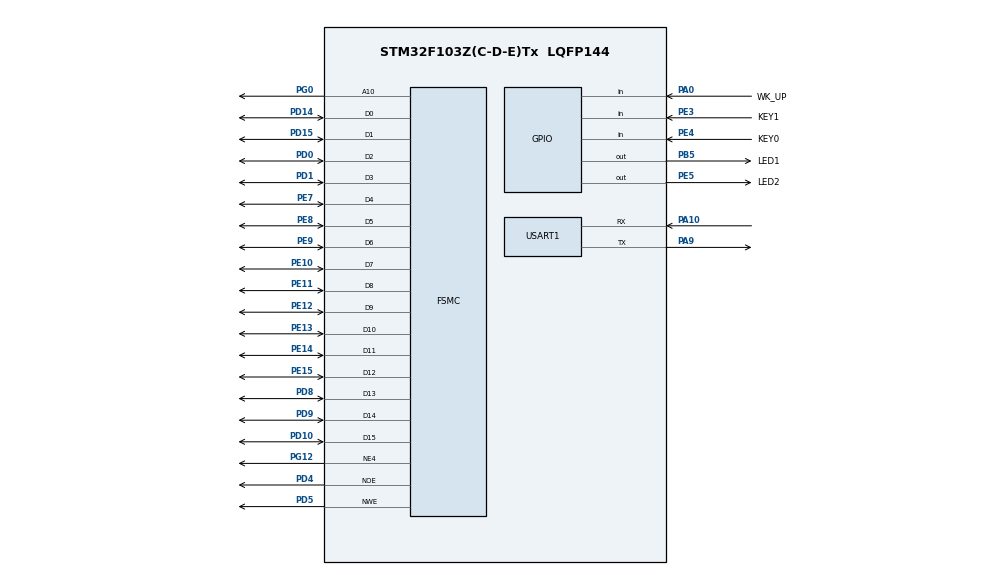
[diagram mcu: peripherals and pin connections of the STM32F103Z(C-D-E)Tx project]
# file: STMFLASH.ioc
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FSMC.AddressSetupTime4=6
FSMC.BusTurnAroundDuration4=0
FSMC.DataSetupTime4=26
FSMC.ExtendedAddressSetupTime4=3
FSMC.ExtendedBusTurnAroundDuration4=0
FSMC.ExtendedDataSetupTime4=6
FSMC.ExtendedMode4=FSMC_EXTENDED_MODE_ENABLE
Mcu.Family=STM32F1
Mcu.Name=STM32F103Z(C-D-E)Tx
Mcu.Package=LQFP144
NVIC.PriorityGroup=NVIC_PRIORITYGROUP_4
NVIC.USART1_IRQn=true\:0\:0\:false\:false\:true\:true\:true\:true
OSC_IN.Mode=HSE-External-Oscillator
OSC_IN.Signal=RCC_OSC_IN
OSC_OUT.Mode=HSE-External-Oscillator
OSC_OUT.Signal=RCC_OSC_OUT
PA0-WKUP.GPIO_Label=WK_UP
PA0-WKUP.GPIO_PuPd=GPIO_PULLDOWN
PA0-WKUP.Signal=GPIO_Input
PA10.Mode=Asynchronous
PA10.Signal=USART1_RX
PA9.Mode=Asynchronous
PA9.Signal=USART1_TX
PB5.GPIO_Label=LED1
PB5.GPIO_Speed=GPIO_SPEED_FREQ_HIGH
PB5.Signal=GPIO_Output
PC14-OSC32_IN.Mode=LSE-External-Oscillator
PC14-OSC32_IN.Signal=RCC_OSC32_IN
PC15-OSC32_OUT.Mode=LSE-External-Oscillator
PC15-OSC32_OUT.Signal=RCC_OSC32_OUT
PD0.Signal=FSMC_D2_DA2
PD1.Signal=FSMC_D3_DA3
PD10.Signal=FSMC_D15_DA15
PD14.Signal=FSMC_D0_DA0
PD15.Signal=FSMC_D1_DA1
PD4.Signal=FSMC_NOE
PD5.Signal=FSMC_NWE
PD8.Signal=FSMC_D13_DA13
PD9.Signal=FSMC_D14_DA14
PE10.Signal=FSMC_D7_DA7
PE11.Signal=FSMC_D8_DA8
PE12.Signal=FSMC_D9_DA9
PE13.Signal=FSMC_D10_DA10
PE14.Signal=FSMC_D11_DA11
PE15.Signal=FSMC_D12_DA12
PE3.GPIO_Label=KEY1
PE3.GPIO_PuPd=GPIO_PULLUP
PE3.Signal=GPIO_Input
PE4.GPIO_Label=KEY0
PE4.GPIO_PuPd=GPIO_PULLUP
PE4.Signal=GPIO_Input
PE5.GPIO_Label=LED2
PE5.GPIO_Speed=GPIO_SPEED_FREQ_HIGH
PE5.Signal=GPIO_Output
PE7.Signal=FSMC_D4_DA4
PE8.Signal=FSMC_D5_DA5
PE9.Signal=FSMC_D6_DA6
PG0.Signal=FSMC_A10
PG12.Mode=NorPsramChipSelect4_4
PG12.Signal=FSMC_NE4
ProjectManager.HeapSize=0x200
ProjectManager.StackSize=0x400
ProjectManager.TargetToolchain=STM32CubeIDE
RCC.APB1Freq_Value=8000000
RCC.APB2Freq_Value=8000000
SH.FSMC_A10.0=FSMC_A10,A10_4
SH.FSMC_D0_DA0.0=FSMC_D0,16b-d4
SH.FSMC_D10_DA10.0=FSMC_D10,16b-d4
SH.FSMC_D11_DA11.0=FSMC_D11,16b-d4
SH.FSMC_D12_DA12.0=FSMC_D12,16b-d4
SH.FSMC_D13_DA13.0=FSMC_D13,16b-d4
SH.FSMC_D14_DA14.0=FSMC_D14,16b-d4
SH.FSMC_D15_DA15.0=FSMC_D15,16b-d4
SH.FSMC_D1_DA1.0=FSMC_D1,16b-d4
SH.FSMC_D2_DA2.0=FSMC_D2,16b-d4
SH.FSMC_D3_DA3.0=FSMC_D3,16b-d4
SH.FSMC_D4_DA4.0=FSMC_D4,16b-d4
SH.FSMC_D5_DA5.0=FSMC_D5,16b-d4
SH.FSMC_D6_DA6.0=FSMC_D6,16b-d4
SH.FSMC_D7_DA7.0=FSMC_D7,16b-d4
SH.FSMC_D8_DA8.0=FSMC_D8,16b-d4
SH.FSMC_D9_DA9.0=FSMC_D9,16b-d4
SH.FSMC_NOE.0=FSMC_NOE,Lcd4
SH.FSMC_NWE.0=FSMC_NWE,Lcd4
USART1.VirtualMode=VM_ASYNC
board=custom

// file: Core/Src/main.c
/* USER CODE BEGIN Header */
/**
  ******************************************************************************
  * @file           : main.c
  * @brief          : Main program body
  ******************************************************************************
  * @attention
  *
  * Copyright (c) 2023 STMicroelectronics.
  * All rights reserved.
  *
  * This software is licensed under terms that can be found in the LICENSE file
  * in the root directory of this software component.
  * If no LICENSE file comes with this software, it is provided AS-IS.
  *
  ******************************************************************************
  */
/* USER CODE END Header */
#include "main.h"
#include "usart.h"
#include "gpio.h"
#include "fsmc.h"

/* USER CODE BEGIN Includes */
#include "stdio.h"
#include "lcd.h"
#include "stmflash.h"
/* USER CODE END Includes */

void SystemClock_Config(void);

int main(void)
{
  /* USER CODE BEGIN 1 */
	int x = 0;
	u8 lcd_id[12];						//存放LCD ID字符�????
	uint8_t g_text_buf[] = {"STM32 FLASH TEST"};
	uint8_t datatemp[20];
  /* USER CODE END 1 */

  /* MCU Configuration--------------------------------------------------------*/

  /* Reset of all peripherals, Initializes the Flash interface and the Systick. */
  HAL_Init();

  /* Configure the system clock */
  SystemClock_Config();

  /* Initialize all configured peripherals */
  MX_GPIO_Init();
  MX_USART1_UART_Init();
  MX_FSMC_Init();
  /* USER CODE BEGIN 2 */
	LCD_Init();
	POINT_COLOR=RED;     				//画笔颜色：红�????
	sprintf((char*)lcd_id,"LCD ID:%04X",lcddev.id);//将LCD ID打印到lcd_id数组�????

	LCD_ShowString(30,40,210,24,24,"WarShip STM32 ^_^");
	//LCD_ShowString(30,70,200,16,16,"TFTLCD TEST");
	//LCD_ShowString(30,90,200,16,16,"ATOM@ALIENTEK");
	LCD_ShowString(30,70,200,16,16,lcd_id);		//显示LCD ID
	//LCD_ShowString(30,130,200,12,12,"2017/5/27");
	LCD_ShowString(30,90,200,16,16,"KEY0:Write KEY1:Read");
  /* USER CODE END 2 */

  /* Infinite loop */
  /* USER CODE BEGIN WHILE */
	while (1)
	{
		if(KEY0 == KEY_DOWN)
		{
			LCD_ShowString(30,110,200,16,16,"Start Write FLASH   ");
			stmflash_write(FLASH_SAVE_ADDR, (uint16_t *)g_text_buf, BUF_FALSH_SIZE(g_text_buf));
			LCD_ShowString(30,110,200,16,16,"FLASH Write Finished");
			HAL_Delay(200);
		}
		else if(KEY1 == KEY_DOWN)
		{
			LCD_ShowString(30,110,200,16,16,"Start Read FLASH   ");
			stmflash_read(FLASH_SAVE_ADDR, (uint16_t *)datatemp, BUF_FALSH_SIZE(g_text_buf));
			LCD_ShowString(30,110,200,16,16,"TheData Readed Is: ");
			POINT_COLOR=BLUE;
			LCD_ShowString(30,130,200,16,16,datatemp);
			POINT_COLOR=RED;
			HAL_Delay(200);
		}
		printf("test\n\r");
    /* USER CODE END WHILE */

  }
}

void SystemClock_Config(void)
{
  RCC_OscInitTypeDef RCC_OscInitStruct = {0};
  RCC_ClkInitTypeDef RCC_ClkInitStruct = {0};

  /** Initializes the RCC Oscillators according to the specified parameters
  * in the RCC_OscInitTypeDef structure.
  */
  RCC_OscInitStruct.OscillatorType = RCC_OSCILLATORTYPE_HSI;
  RCC_OscInitStruct.HSIState = RCC_HSI_ON;
  RCC_OscInitStruct.HSICalibrationValue = RCC_HSICALIBRATION_DEFAULT;
  RCC_OscInitStruct.PLL.PLLState = RCC_PLL_NONE;
  if (HAL_RCC_OscConfig(&RCC_OscInitStruct) != HAL_OK)
  {
    Error_Handler();
  }

  /** Initializes the CPU, AHB and APB buses clocks
  */
  RCC_ClkInitStruct.ClockType = RCC_CLOCKTYPE_HCLK|RCC_CLOCKTYPE_SYSCLK
                              |RCC_CLOCKTYPE_PCLK1|RCC_CLOCKTYPE_PCLK2;
  RCC_ClkInitStruct.SYSCLKSource = RCC_SYSCLKSOURCE_HSI;
  RCC_ClkInitStruct.AHBCLKDivider = RCC_SYSCLK_DIV1;
  RCC_ClkInitStruct.APB1CLKDivider = RCC_HCLK_DIV1;
  RCC_ClkInitStruct.APB2CLKDivider = RCC_HCLK_DIV1;

  if (HAL_RCC_ClockConfig(&RCC_ClkInitStruct, FLASH_LATENCY_0) != HAL_OK)
  {
    Error_Handler();
  }
}

void Error_Handler(void)
{
  __disable_irq();
  while (1)
  {
  }
}
